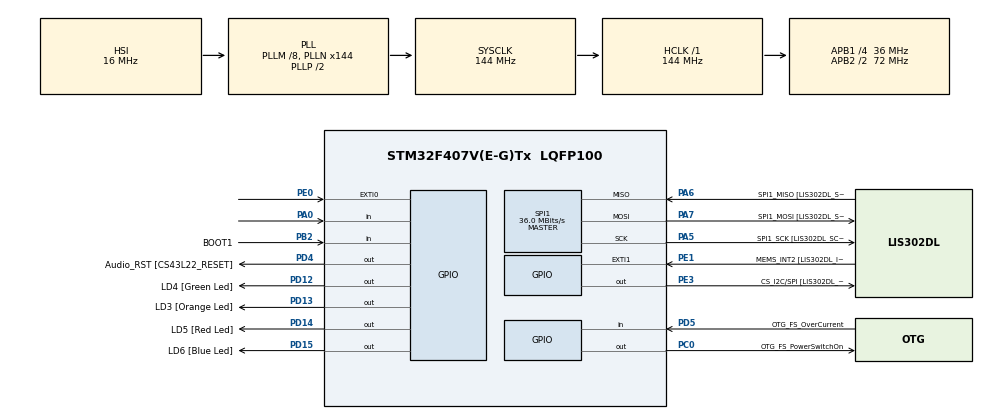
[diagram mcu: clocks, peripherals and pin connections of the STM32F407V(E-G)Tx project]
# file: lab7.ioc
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Mcu.Family=STM32F4
Mcu.Name=STM32F407V(E-G)Tx
Mcu.Package=LQFP100
NVIC.EXTI0_IRQn=true\:0\:0\:false\:false\:true\:true\:true\:true
NVIC.PriorityGroup=NVIC_PRIORITYGROUP_0
PA0-WKUP.Signal=GPIO_Input
PA10.GPIO_Label=OTG_FS_ID
PA10.GPIO_Mode=GPIO_MODE_AF_PP
PA10.GPIO_PuPd=GPIO_NOPULL
PA10.GPIO_Speed=GPIO_SPEED_FREQ_LOW
PA10.Signal=USB_OTG_FS_ID
PA11.GPIO_Label=OTG_FS_DM
PA11.GPIO_Mode=GPIO_MODE_AF_PP
PA11.GPIO_PuPd=GPIO_NOPULL
PA11.GPIO_Speed=GPIO_SPEED_FREQ_LOW
PA11.Signal=USB_OTG_FS_DM
PA12.GPIO_Label=OTG_FS_DP
PA12.GPIO_Mode=GPIO_MODE_AF_PP
PA12.GPIO_PuPd=GPIO_NOPULL
PA12.GPIO_Speed=GPIO_SPEED_FREQ_LOW
PA12.Signal=USB_OTG_FS_DP
PA13.GPIO_Label=SWDIO
PA13.Mode=Serial_Wire
PA13.Signal=SYS_JTMS-SWDIO
PA14.GPIO_Label=SWCLK
PA14.Mode=Serial_Wire
PA14.Signal=SYS_JTCK-SWCLK
PA4.GPIO_Label=I2S3_WS [CS43L22_LRCK]
PA4.GPIO_Mode=GPIO_MODE_AF_PP
PA4.GPIO_PuPd=GPIO_NOPULL
PA4.GPIO_Speed=GPIO_SPEED_FREQ_LOW
PA4.Signal=I2S3_WS
PA5.GPIO_Label=SPI1_SCK [LIS302DL_SCL/SPC]
PA5.GPIO_Mode=GPIO_MODE_AF_PP
PA5.GPIO_PuPd=GPIO_NOPULL
PA5.GPIO_Speed=GPIO_SPEED_FREQ_LOW
PA5.Mode=Full_Duplex_Master
PA5.Signal=SPI1_SCK
PA6.GPIO_Label=SPI1_MISO [LIS302DL_SDO]
PA6.GPIO_Mode=GPIO_MODE_AF_PP
PA6.GPIO_PuPd=GPIO_NOPULL
PA6.GPIO_Speed=GPIO_SPEED_FREQ_LOW
PA6.Mode=Full_Duplex_Master
PA6.Signal=SPI1_MISO
PA7.GPIO_Label=SPI1_MOSI [LIS302DL_SDA/SDI/SDO]
PA7.GPIO_Mode=GPIO_MODE_AF_PP
PA7.GPIO_PuPd=GPIO_NOPULL
PA7.GPIO_Speed=GPIO_SPEED_FREQ_LOW
PA7.Mode=Full_Duplex_Master
PA7.Signal=SPI1_MOSI
PA9.GPIO_Label=VBUS_FS
PA9.GPIO_Mode=GPIO_MODE_INPUT
PA9.GPIO_PuPd=GPIO_NOPULL
PA9.Signal=USB_OTG_FS_VBUS
PB10.GPIO_Label=CLK_IN [MP45DT02_CLK]
PB10.GPIO_Mode=GPIO_MODE_AF_PP
PB10.GPIO_PuPd=GPIO_NOPULL
PB10.GPIO_Speed=GPIO_SPEED_FREQ_LOW
PB10.Signal=I2S2_CK
PB2.GPIO_Label=BOOT1
PB2.GPIO_Mode=GPIO_MODE_INPUT
PB2.GPIO_PuPd=GPIO_NOPULL
PB2.Signal=GPIO_Input
PB3.GPIO_Label=SWO
PB3.Signal=SYS_JTDO-SWO
PB6.GPIO_Label=Audio_SCL [CS43L22_SCL]
PB6.GPIO_Mode=GPIO_MODE_AF_OD
PB6.GPIO_PuPd=GPIO_NOPULL
PB6.GPIO_Speed=GPIO_SPEED_FREQ_LOW
PB6.Signal=I2C1_SCL
PB9.GPIO_Label=Audio_SDA [CS43L22_SDA]
PB9.GPIO_Mode=GPIO_MODE_AF_OD
PB9.GPIO_PuPd=GPIO_NOPULL
PB9.GPIO_Speed=GPIO_SPEED_FREQ_LOW
PB9.Signal=I2C1_SDA
PC0.GPIO_Label=OTG_FS_PowerSwitchOn
PC0.GPIO_PuPd=GPIO_NOPULL
PC0.GPIO_Speed=GPIO_SPEED_FREQ_LOW
PC0.PinState=GPIO_PIN_SET
PC0.Signal=GPIO_Output
PC10.GPIO_Label=I2S3_SCK [CS43L22_SCLK]
PC10.GPIO_Mode=GPIO_MODE_AF_PP
PC10.GPIO_PuPd=GPIO_NOPULL
PC10.GPIO_Speed=GPIO_SPEED_FREQ_LOW
PC10.Signal=I2S3_CK
PC12.GPIO_Label=I2S3_SD [CS43L22_SDIN]
PC12.GPIO_Mode=GPIO_MODE_AF_PP
PC12.GPIO_PuPd=GPIO_NOPULL
PC12.GPIO_Speed=GPIO_SPEED_FREQ_LOW
PC12.Signal=I2S3_SD
PC14-OSC32_IN.GPIO_Label=PC14-OSC32_IN
PC14-OSC32_IN.Signal=RCC_OSC32_IN
PC15-OSC32_OUT.GPIO_Label=PC15-OSC32_OUT
PC15-OSC32_OUT.Signal=RCC_OSC32_OUT
PC3.GPIO_Label=PDM_OUT [MP45DT02_DOUT]
PC3.GPIO_Mode=GPIO_MODE_AF_PP
PC3.GPIO_PuPd=GPIO_NOPULL
PC3.GPIO_Speed=GPIO_SPEED_FREQ_LOW
PC3.Signal=I2S2_SD
PC7.GPIO_Label=I2S3_MCK [CS43L22_MCLK]
PC7.GPIO_Mode=GPIO_MODE_AF_PP
PC7.GPIO_PuPd=GPIO_NOPULL
PC7.GPIO_Speed=GPIO_SPEED_FREQ_LOW
PC7.Signal=I2S3_MCK
PD12.GPIO_Label=LD4 [Green Led]
PD12.GPIO_PuPd=GPIO_NOPULL
PD12.GPIO_Speed=GPIO_SPEED_FREQ_LOW
PD12.Signal=GPIO_Output
PD13.GPIO_Label=LD3 [Orange Led]
PD13.GPIO_PuPd=GPIO_NOPULL
PD13.GPIO_Speed=GPIO_SPEED_FREQ_LOW
PD13.Signal=GPIO_Output
PD14.GPIO_Label=LD5 [Red Led]
PD14.GPIO_PuPd=GPIO_NOPULL
PD14.GPIO_Speed=GPIO_SPEED_FREQ_LOW
PD14.Signal=GPIO_Output
PD15.GPIO_Label=LD6 [Blue Led]
PD15.GPIO_PuPd=GPIO_NOPULL
PD15.GPIO_Speed=GPIO_SPEED_FREQ_LOW
PD15.Signal=GPIO_Output
PD4.GPIO_Label=Audio_RST [CS43L22_RESET]
PD4.GPIO_PuPd=GPIO_NOPULL
PD4.GPIO_Speed=GPIO_SPEED_FREQ_LOW
PD4.Signal=GPIO_Output
PD5.GPIO_Label=OTG_FS_OverCurrent
PD5.GPIO_Mode=GPIO_MODE_INPUT
PD5.GPIO_PuPd=GPIO_NOPULL
PD5.Signal=GPIO_Input
PE0.Signal=GPXTI0
PE1.GPIO_Label=MEMS_INT2 [LIS302DL_INT2]
PE1.GPIO_ModeDefaultEXTI=GPIO_MODE_EVT_RISING
PE1.GPIO_PuPd=GPIO_NOPULL
PE1.Signal=GPXTI1
PE3.GPIO_Label=CS_I2C/SPI [LIS302DL_CS_I2C/SPI]
PE3.GPIO_PuPd=GPIO_NOPULL
PE3.GPIO_Speed=GPIO_SPEED_FREQ_LOW
PE3.Signal=GPIO_Output
PH0-OSC_IN.GPIO_Label=PH0-OSC_IN
PH0-OSC_IN.Signal=RCC_OSC_IN
PH1-OSC_OUT.GPIO_Label=PH1-OSC_OUT
PH1-OSC_OUT.Signal=RCC_OSC_OUT
ProjectManager.HeapSize=0x200
ProjectManager.StackSize=0x400
ProjectManager.TargetToolchain=STM32CubeIDE
RCC.48MHZClocksFreq_Value=41142857.14285714
RCC.AHBFreq_Value=144000000
RCC.APB1CLKDivider=RCC_HCLK_DIV4
RCC.APB1Freq_Value=36000000
RCC.APB1TimFreq_Value=72000000
RCC.APB2CLKDivider=RCC_HCLK_DIV2
RCC.APB2Freq_Value=72000000
RCC.APB2TimFreq_Value=144000000
RCC.CortexFreq_Value=144000000
RCC.HCLKFreq_Value=144000000
RCC.HSE_VALUE=8000000
RCC.HSI_VALUE=16000000
RCC.PLLM=8
RCC.PLLN=144
RCC.PLLQ=7
RCC.SYSCLKFreq_VALUE=144000000
RCC.SYSCLKSource=RCC_SYSCLKSOURCE_PLLCLK
RCC.VCOOutputFreq_Value=288000000
SPI1.CalculateBaudRate=36.0 MBits/s
SPI1.Direction=SPI_DIRECTION_2LINES
SPI1.Mode=SPI_MODE_MASTER
SPI1.VirtualType=VM_MASTER
board=STM32F407G-DISC1

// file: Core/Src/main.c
/* USER CODE BEGIN Header */
/**
  ******************************************************************************
  * @file           : main.c
  * @brief          : Main program body
  ******************************************************************************
  * @attention
  *
  * Copyright (c) 2026 STMicroelectronics.
  * All rights reserved.
  *
  * This software is licensed under terms that can be found in the LICENSE file
  * in the root directory of this software component.
  * If no LICENSE file comes with this software, it is provided AS-IS.
  *
  ******************************************************************************
  */
/* USER CODE END Header */
#include "main.h"
#include "spi.h"
#include "gpio.h"
#include "MY_LIS3DSH.h"
#include <stdbool.h>

/* USER CODE BEGIN PV */
extern SPI_HandleTypeDef hspi1;

volatile uint8_t data_ready_flag = 0;

LIS3DSH_DataScaled myData;

float filtered_X = 0.0;
float filtered_Y = 0.0;
float filtered_Z = 0.0;

const float alpha = 0.15;
const float threshold = 300.0;
/* USER CODE END PV */

void SystemClock_Config(void);

/* USER CODE BEGIN 0 */
void HAL_GPIO_EXTI_Callback(uint16_t GPIO_Pin) {
	if(GPIO_Pin == GPIO_PIN_0) {
	data_ready_flag = 1;
	}
}
/* USER CODE END 0 */

int main(void)
{

  /* MCU Configuration--------------------------------------------------------*/

  /* Reset of all peripherals, Initializes the Flash interface and the Systick. */
  HAL_Init();

  /* Configure the system clock */
  SystemClock_Config();

  /* Initialize all configured peripherals */
  MX_GPIO_Init();
  MX_SPI1_Init();
  /* USER CODE BEGIN 2 */
   LIS3DSH_InitTypeDef myAccConfigDef;
  myAccConfigDef.dataRate = LIS3DSH_DATARATE_25;
  myAccConfigDef.fullScale = LIS3DSH_FULLSCALE_4;
  myAccConfigDef.antiAliasingBW = LIS3DSH_FILTER_BW_50;
  myAccConfigDef.enableAxes = LIS3DSH_XYZ_ENABLE;
  myAccConfigDef.interruptEnable = true;

  LIS3DSH_Init(&hspi1, &myAccConfigDef);

  LIS3DSH_X_calibrate(-1000.0, 980.0);
  LIS3DSH_Y_calibrate(-1020.0, 1040.0);
  LIS3DSH_Z_calibrate(-920.0, 1040.0);
  /* USER CODE END 2 */

  /* Infinite loop */
  while (1)
  {
	  /*Git Is Ready*/
	  /* USER CODE BEGIN 3 */
	  if (data_ready_flag == 1)
	  {
	  data_ready_flag = 0;
	  myData = LIS3DSH_GetDataScaled();

	  filtered_X = (alpha * myData.x) + ((1.0 - alpha) * filtered_X);
	  filtered_Y = (alpha * myData.y) + ((1.0 - alpha) * filtered_Y);
	  filtered_Z = (alpha * myData.z) + ((1.0 - alpha) * filtered_Z);
	  if (filtered_X > threshold || filtered_X < -threshold || filtered_Y > threshold || filtered_Y < -threshold)
	  {
	  HAL_GPIO_WritePin(GPIOD, GPIO_PIN_12, GPIO_PIN_SET);
	  }
	  else
	  {
	  HAL_GPIO_WritePin(GPIOD, GPIO_PIN_1, GPIO_PIN_RESET);
	  }
	  }

	  }

  }
  /* USER CODE END 3 */

void SystemClock_Config(void)
{
  RCC_OscInitTypeDef RCC_OscInitStruct = {0};
  RCC_ClkInitTypeDef RCC_ClkInitStruct = {0};

  /** Configure the main internal regulator output voltage
  */
  __HAL_RCC_PWR_CLK_ENABLE();
  __HAL_PWR_VOLTAGESCALING_CONFIG(PWR_REGULATOR_VOLTAGE_SCALE1);

  /** Initializes the RCC Oscillators according to the specified parameters
  * in the RCC_OscInitTypeDef structure.
  */
  RCC_OscInitStruct.OscillatorType = RCC_OSCILLATORTYPE_HSI;
  RCC_OscInitStruct.HSIState = RCC_HSI_ON;
  RCC_OscInitStruct.HSICalibrationValue = RCC_HSICALIBRATION_DEFAULT;
  RCC_OscInitStruct.PLL.PLLState = RCC_PLL_ON;
  RCC_OscInitStruct.PLL.PLLSource = RCC_PLLSOURCE_HSI;
  RCC_OscInitStruct.PLL.PLLM = 8;
  RCC_OscInitStruct.PLL.PLLN = 144;
  RCC_OscInitStruct.PLL.PLLP = RCC_PLLP_DIV2;
  RCC_OscInitStruct.PLL.PLLQ = 7;
  if (HAL_RCC_OscConfig(&RCC_OscInitStruct) != HAL_OK)
  {
    Error_Handler();
  }

  /** Initializes the CPU, AHB and APB buses clocks
  */
  RCC_ClkInitStruct.ClockType = RCC_CLOCKTYPE_HCLK|RCC_CLOCKTYPE_SYSCLK
                              |RCC_CLOCKTYPE_PCLK1|RCC_CLOCKTYPE_PCLK2;
  RCC_ClkInitStruct.SYSCLKSource = RCC_SYSCLKSOURCE_PLLCLK;
  RCC_ClkInitStruct.AHBCLKDivider = RCC_SYSCLK_DIV1;
  RCC_ClkInitStruct.APB1CLKDivider = RCC_HCLK_DIV4;
  RCC_ClkInitStruct.APB2CLKDivider = RCC_HCLK_DIV2;

  if (HAL_RCC_ClockConfig(&RCC_ClkInitStruct, FLASH_LATENCY_4) != HAL_OK)
  {
    Error_Handler();
  }
}

void Error_Handler(void)
{
  __disable_irq();
  while (1)
  {
  }
}
